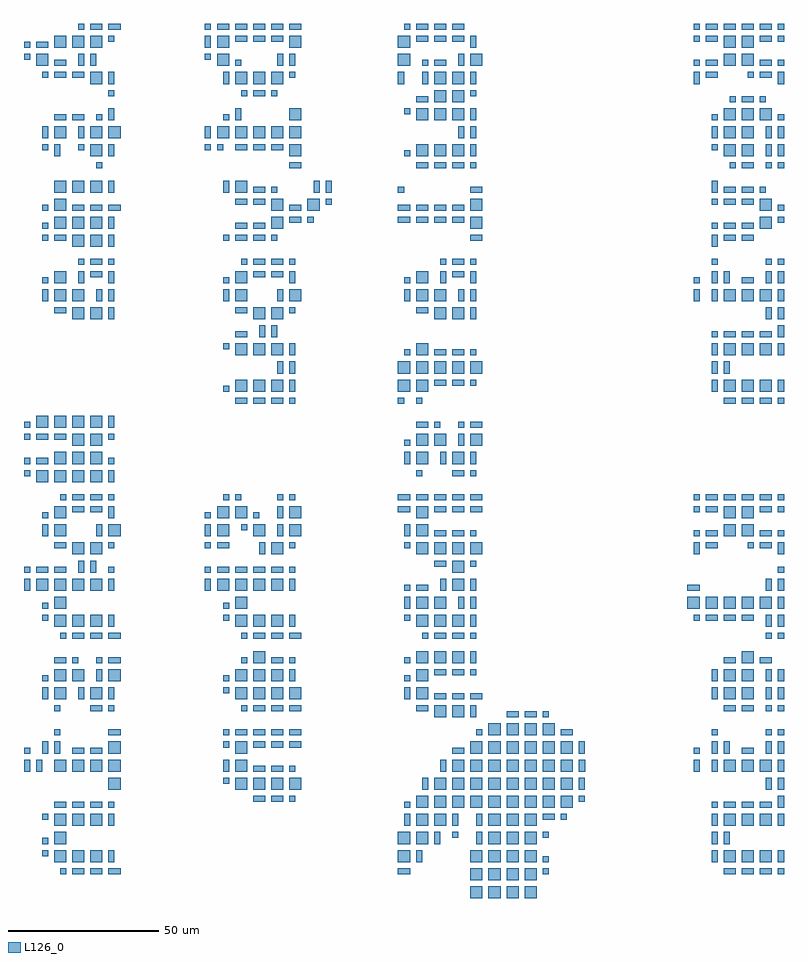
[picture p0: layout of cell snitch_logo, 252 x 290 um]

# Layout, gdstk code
import gdstk
lib = gdstk.Library(unit=1e-6, precision=1e-09)
def R(c, l, rs):  # rectangles x0, y0, x1, y1
    for r in rs: c.add(gdstk.rectangle(r[:2], r[2:], *l))
def A(c, l, x, y, w, h, nx, ny, dx, dy):  # array of equal rectangles
    R(c, l, [(x+i*dx, y+j*dy, x+i*dx+w, y+j*dy+h) for i in range(nx) for j in range(ny)])
L126_0 = (126, 0)

snitch_logo = lib.new_cell('snitch_logo')
A(snitch_logo, L126_0, 202, 52, 4, 4, 4, 3, 6, 6)
A(snitch_logo, L126_0, 70, 60, 4, 2, 3, 2, 6, 78)
A(snitch_logo, L126_0, 286, 60, 4, 2, 3, 2, 6, 22)
A(snitch_logo, L126_0, 64, 64, 4, 4, 3, 2, 6, 12)
A(snitch_logo, L126_0, 282, 64, 2, 4, 1, 3, 0, 6)
A(snitch_logo, L126_0, 286, 64, 4, 4, 3, 2, 6, 12)
A(snitch_logo, L126_0, 208, 70, 4, 4, 3, 2, 6, 6)
A(snitch_logo, L126_0, 190, 76, 4, 4, 1, 3, 0, 36)
A(snitch_logo, L126_0, 304, 76, 2, 4, 1, 5, 0, 6)
A(snitch_logo, L126_0, 64, 82, 4, 2, 3, 1, 6, 0)
A(snitch_logo, L126_0, 184, 82, 4, 4, 9, 1, 6, 0)
A(snitch_logo, L126_0, 124, 88, 4, 4, 4, 2, 6, 30)
A(snitch_logo, L126_0, 190, 88, 4, 4, 8, 1, 6, 0)
A(snitch_logo, L126_0, 64, 94, 4, 4, 4, 1, 6, 0)
A(snitch_logo, L126_0, 196, 94, 4, 4, 7, 1, 6, 0)
A(snitch_logo, L126_0, 286, 94, 4, 4, 3, 2, 6, 126)
A(snitch_logo, L126_0, 202, 100, 4, 4, 6, 1, 6, 0)
A(snitch_logo, L126_0, 130, 102, 4, 2, 3, 2, 6, 12)
A(snitch_logo, L126_0, 124, 106, 4, 2, 4, 1, 6, 0)
A(snitch_logo, L126_0, 208, 106, 4, 4, 4, 1, 6, 0)
A(snitch_logo, L126_0, 202, 112, 2, 4, 1, 3, 0, 18)
A(snitch_logo, L126_0, 190, 118, 4, 2, 3, 2, 6, 62)
A(snitch_logo, L126_0, 292, 118, 4, 4, 1, 3, 0, 6)
A(snitch_logo, L126_0, 60, 124, 2, 2, 3, 2, 60, 20)
A(snitch_logo, L126_0, 124, 124, 4, 4, 3, 2, 6, 18)
A(snitch_logo, L126_0, 184, 130, 4, 4, 3, 2, 6, 12)
A(snitch_logo, L126_0, 66, 138, 2, 2, 3, 1, 60, 0)
A(snitch_logo, L126_0, 130, 138, 4, 2, 3, 1, 6, 0)
A(snitch_logo, L126_0, 64, 142, 4, 4, 3, 2, 6, 54)
A(snitch_logo, L126_0, 82, 142, 2, 4, 3, 1, 60, 0)
A(snitch_logo, L126_0, 304, 142, 2, 4, 1, 3, 0, 6)
A(snitch_logo, L126_0, 280, 144, 4, 2, 3, 1, 6, 0)
A(snitch_logo, L126_0, 64, 148, 4, 4, 3, 2, 60, 108)
A(snitch_logo, L126_0, 120, 148, 2, 2, 1, 3, 0, 36)
A(snitch_logo, L126_0, 180, 148, 2, 4, 1, 3, 0, 24)
A(snitch_logo, L126_0, 274, 148, 4, 4, 5, 1, 6, 0)
A(snitch_logo, L126_0, 58, 154, 4, 4, 4, 2, 6, 36)
A(snitch_logo, L126_0, 118, 154, 4, 4, 4, 1, 6, 0)
A(snitch_logo, L126_0, 118, 160, 4, 2, 4, 1, 6, 0)
A(snitch_logo, L126_0, 184, 166, 4, 4, 4, 1, 6, 0)
A(snitch_logo, L126_0, 118, 172, 4, 4, 3, 1, 12, 0)
A(snitch_logo, L126_0, 178, 184, 4, 2, 5, 1, 6, 0)
A(snitch_logo, L126_0, 276, 184, 2, 2, 1, 3, 0, 72)
A(snitch_logo, L126_0, 280, 184, 4, 2, 4, 2, 6, 156)
A(snitch_logo, L126_0, 58, 208, 4, 4, 4, 1, 6, 0)
A(snitch_logo, L126_0, 124, 216, 4, 2, 3, 2, 6, 84)
A(snitch_logo, L126_0, 286, 216, 4, 2, 3, 2, 6, 22)
A(snitch_logo, L126_0, 124, 220, 4, 4, 3, 2, 6, 12)
A(snitch_logo, L126_0, 142, 220, 2, 4, 1, 3, 0, 6)
A(snitch_logo, L126_0, 282, 220, 2, 4, 1, 3, 0, 6)
A(snitch_logo, L126_0, 178, 226, 4, 4, 5, 1, 6, 0)
A(snitch_logo, L126_0, 286, 232, 4, 4, 3, 2, 6, 18)
A(snitch_logo, L126_0, 304, 232, 2, 4, 1, 5, 0, 6)
A(snitch_logo, L126_0, 82, 244, 2, 4, 1, 3, 0, 6)
A(snitch_logo, L126_0, 202, 244, 2, 4, 1, 3, 0, 6)
A(snitch_logo, L126_0, 64, 246, 4, 2, 3, 1, 60, 0)
A(snitch_logo, L126_0, 120, 250, 2, 4, 1, 3, 0, 36)
A(snitch_logo, L126_0, 60, 256, 2, 2, 3, 1, 60, 0)
A(snitch_logo, L126_0, 282, 268, 2, 4, 1, 3, 0, 18)
A(snitch_logo, L126_0, 64, 274, 4, 4, 3, 2, 6, 12)
A(snitch_logo, L126_0, 82, 274, 2, 4, 1, 5, 0, 12)
A(snitch_logo, L126_0, 178, 276, 4, 2, 4, 2, 6, 4)
A(snitch_logo, L126_0, 70, 280, 4, 2, 3, 1, 6, 0)
A(snitch_logo, L126_0, 184, 294, 4, 2, 3, 2, 6, 42)
A(snitch_logo, L126_0, 184, 298, 4, 4, 3, 2, 6, 12)
A(snitch_logo, L126_0, 202, 298, 2, 4, 1, 3, 0, 6)
A(snitch_logo, L126_0, 118, 304, 4, 4, 5, 1, 6, 0)
A(snitch_logo, L126_0, 286, 310, 4, 4, 3, 1, 6, 0)
A(snitch_logo, L126_0, 124, 322, 4, 4, 3, 1, 6, 0)
A(snitch_logo, L126_0, 58, 328, 4, 4, 3, 1, 60, 0)
A(snitch_logo, L126_0, 64, 334, 4, 4, 3, 1, 6, 0)
A(snitch_logo, L126_0, 124, 336, 4, 2, 3, 1, 6, 0)
A(snitch_logo, L126_0, 118, 340, 4, 2, 5, 1, 6, 0)
A(snitch_logo, L126_0, 184, 340, 4, 2, 3, 1, 6, 0)
R(snitch_logo, L126_0, [(66,60,68,62), (178,60,182,62), (226,60,228,62), (304,60,306,62), (82,64,84,68), (178,64,182,68), (184,64,186,68), (226,64,228,66), (304,64,306,68), (60,66,62,68), (60,70,62,72), (64,70,68,74), (178,70,182,74), (184,70,188,74), (190,70,192,74), (204,70,206,74), (286,70,288,74), (196,72,198,74), (226,72,228,74), (82,76,84,80), (180,76,182,80), (184,76,188,80), (196,76,198,80), (204,76,206,80), (60,78,62,80), (226,78,230,80), (232,78,234,80), (82,82,84,84), (180,82,182,84), (282,82,284,84), (130,84,134,86), (136,84,140,86), (142,84,144,86), (238,84,240,86), (82,88,86,92), (186,88,188,92), (238,88,240,92), (300,88,302,92), (120,90,122,92), (54,94,56,98), (58,94,60,98), (120,94,122,98), (124,94,128,98), (130,94,134,96), (136,94,140,96), (142,94,144,96), (192,94,194,98), (238,94,240.18,98), (276,94,278,98), (282,94,284,98), (54,100,56,102), (60,100,62,104), (64,100,66,104), (70,100,74,102), (76,100,80,102), (82,100,86,104), (124,100,128,104), (196,100,200,102), (238,100,240,104), (276,100,278,102), (282,100,284,104), (286,100,288,104), (292,100,296,102), (300,100,302,104), (120,102,122,104), (64,106,66,108), (82,106,86,108), (120,106,122,108), (204,106,206,108), (232,106,236,108), (282,106,284,108), (300,106,302,108), (304,106,306,108), (196,112,200,116), (214,112,218,114), (220,112,224,114), (226,112,228,114), (64,114,66,116), (76,114,80,116), (82,114,84,116), (126,114,128,116), (184,114,188,116), (286,114,290,116), (292,114,296,116), (300,114,302,116), (304,114,306,116), (60,118,62,122), (64,118,68,122), (72,118,74,122), (76,118,80,122), (82,118,84,122), (180,118,182,122), (184,118,188,122), (282,118,284,122), (286,118,290,122), (300,118,302,122), (304,118,306,122), (120,120,122,122), (64,124,68,128), (70,124,74,128), (78,124,80,128), (82,124,86,128), (142,124,144,128), (184,124,188,128), (282,124,284,128), (286,124,290,128), (300,124,302,128), (304,124,306,128), (190,126,194,128), (196,126,200,128), (202,126,204,128), (64,130,68,132), (70,130,72,132), (78,130,80,132), (82,130,86,132), (126,130,128,132), (130,130,134,134), (136,130,140,132), (142,130,144,132), (180,130,182,132), (286,130,290,132), (298,130,302,132), (190,138,194,140), (196,138,200,140), (202,138,204,140), (300,138,302,140), (304,138,306,140), (300,142,302,146), (276,144,278,146), (60,148,62,150), (198,148,200,152), (54,154,56,158), (82,154,84,158), (114,154,116,158), (142,154,144,158), (180,154,182,156), (184,154,188,156), (192,154,194,158), (196,154,200,158), (202,154,204,158), (274,154,278,156), (300,154,302,158), (54,160,56,162), (58,160,62,162), (64,160,68,162), (72,160,74,164), (76,160,78,164), (82,160,84,162), (114,160,116,162), (142,160,144,162), (196,160,200,164), (304,160,306,162), (190,162,194,164), (202,162,204,164), (70,166,74,170), (76,166,80,170), (132,166,134,170), (136,166,140,170), (276,166,278,170), (304,166,306,170), (64,168,68,170), (82,168,84,170), (114,168,116,170), (118,168,122,170), (142,168,144,170), (180,168,182,170), (280,168,284,170), (294,168,296,170), (298,168,302,170), (60,172,62,176), (64,172,68,176), (78,172,80,176), (82,172,86,176), (114,172,116,176), (138,172,140,176), (184,172,188,176), (190,172,194,174), (196,172,200,174), (202,172,204,174), (276,172,278,174), (280,172,284,174), (286,172,290,176), (292,172,296,176), (298,172,302,174), (304,172,306,174), (126,174,128,176), (60,178,62,180), (64,178,68,182), (82,178,84,182), (114,178,116,180), (118,178,122,182), (124,178,128,182), (130,178,132,180), (138,178,140,182), (142,178,146,182), (184,178,188,182), (286,178,290,182), (292,178,296,182), (70,180,74,182), (76,180,80,182), (178,180,182,182), (276,180,278,182), (280,180,284,182), (298,180,302,182), (304,180,306,182), (66,184,68,186), (70,184,74,186), (76,184,80,186), (82,184,84,186), (124,184,126,186), (138,184,140,186), (142,184,144,186), (304,184,306,186), (82,190,84,194), (54,192,56,194), (184,192,186,194), (196,192,200,194), (202,192,204,194), (54,196,56,198), (58,196,62,198), (82,196,84,198), (184,196,188,200), (192,196,194,200), (196,196,200,200), (202,196,204,200), (70,202,74,206), (76,202,80,206), (180,202,182,204), (184,202,188,206), (190,202,194,206), (198,202,200,206), (202,202,206,206), (54,204,56,206), (58,204,62,206), (64,204,68,206), (82,204,84,206), (54,208,56,210), (82,208,84,212), (184,208,188,210), (190,208,192,210), (198,208,200,210), (202,208,206,210), (142,216,144,218), (178,216,180,218), (184,216,186,218), (304,216,306,218), (178,220,182,224), (184,220,188,224), (304,220,306,224), (190,222,194,224), (196,222,200,224), (202,222,204,224), (138,226,140,230), (286,226,288,230), (180,232,182,234), (184,232,188,236), (190,232,194,234), (196,232,200,234), (202,232,204,234), (120,234,122,236), (124,238,128,240), (132,238,134,242), (136,238,138,242), (282,238,284,240), (70,244,74,248), (76,244,80,248), (130,244,134,248), (136,244,140,248), (190,244,194,248), (196,244,200,248), (300,244,302,248), (142,246,144,248), (60,250,62,254), (64,250,68,254), (70,250,74,254), (78,250,80,254), (124,250,128,254), (138,250,140,254), (142,250,146,254), (180,250,182,254), (184,250,188,254), (190,250,194,254), (198,250,200,254), (276,250,278,254), (282,250,284,254), (72,256,74,260), (142,256,144,260), (192,256,194,260), (282,256,284,260), (286,256,288,260), (292,256,296,258), (300,256,302,260), (76,258,80,260), (130,258,134,260), (136,258,140,260), (196,258,200,260), (72,262,74,264), (76,262,80,264), (82,262,84,264), (126,262,128,264), (130,262,134,264), (136,262,140,264), (142,262,144,264), (192,262,194,264), (196,262,200,264), (202,262,204,264), (282,262,284,264), (300,262,302,264), (304,262,306,264), (70,268,74,272), (76,268,80,272), (82,268,84,272), (60,270,62,272), (64,270,68,272), (120,270,122,272), (124,270,128,272), (130,270,134,272), (136,270,138,272), (202,270,206,272), (286,270,290,272), (292,270,296,272), (60,274,62,276), (124,274,128,276), (130,274,134,276), (136,274,140,278), (202,274,206,278), (282,274,284,276), (286,274,290,276), (292,274,296,276), (298,274,302,278), (142,276,146,278), (148,276,150,278), (304,276,306,278), (60,280,62,282), (64,280,68,284), (136,280,140,284), (142,280,146,282), (148,280,152,284), (202,280,206,284), (298,280,302,284), (304,280,306,282), (124,282,128,284), (130,282,134,284), (154,282,156,284), (282,282,284,284), (286,282,290,284), (292,282,296,284), (124,286,128,290), (130,286,134,288), (136,286,138,288), (150,286,152,290), (154,286,156,290), (178,286,180,288), (202,286,206,288), (286,286,290,288), (292,286,296,288), (298,286,300,288), (78,294,80,296), (142,294,146,296), (202,294,204,296), (288,294,290,296), (292,294,296,296), (300,294,302,296), (304,294,306,296), (64,298,66,302), (76,298,80,302), (142,298,146,302), (180,298,182,300), (286,298,290,302), (292,298,296,302), (300,298,302,302), (304,298,306,302), (60,300,62,302), (72,300,74,302), (114,300,116,302), (118,300,120,302), (282,300,284,302), (60,304,62,308), (64,304,68,308), (72,304,74,308), (76,304,80,308), (82,304,86,308), (114,304,116,308), (198,304,200,308), (286,304,290,308), (292,304,296,308), (300,304,302,308), (304,304,306,308), (64,310,68,312), (70,310,74,312), (78,310,80,312), (120,310,122,312), (124,310,126,314), (142,310,146,314), (282,310,284,312), (304,310,306,312), (180,312,182,314), (184,316,188,318), (190,316,194,320), (196,316,200,320), (288,316,290,318), (292,316,296,318), (298,316,300,318), (82,318,84,320), (126,318,128,320), (130,318,134,320), (136,318,138,320), (202,318,204,320), (76,322,80,326), (178,322,180,326), (186,322,188,326), (190,322,194,326), (196,322,200,326), (202,322,204,326), (276,322,278,326), (304,322,306,326), (60,324,62,326), (64,324,68,326), (70,324,74,326), (142,324,144,326), (280,324,284,326), (294,324,296,326), (298,324,302,326), (64,328,68,330), (72,328,74,332), (76,328,78,332), (124,328,126,330), (138,328,140,332), (142,328,144,332), (186,328,188,330), (190,328,194,330), (198,328,200,332), (202,328,206,332), (280,328,284,330), (286,328,290,332), (292,328,296,332), (298,328,302,330), (304,328,306,330), (54,330,56,332), (114,330,116,332), (54,334,56,336), (58,334,62,336), (114,334,116,338), (118,334,122,338), (142,334,146,338), (178,334,182,338), (202,334,204,338), (286,334,290,338), (292,334,296,338), (82,336,84,338), (276,336,278,338), (280,336,284,338), (298,336,302,338), (304,336,306,338), (72,340,74,342), (76,340,80,342), (82,340,86,342), (114,340,116,342), (180,340,182,342), (276,340,278,342), (304,340,306,342)])

lib.write_gds('snitch_logo.gds')
